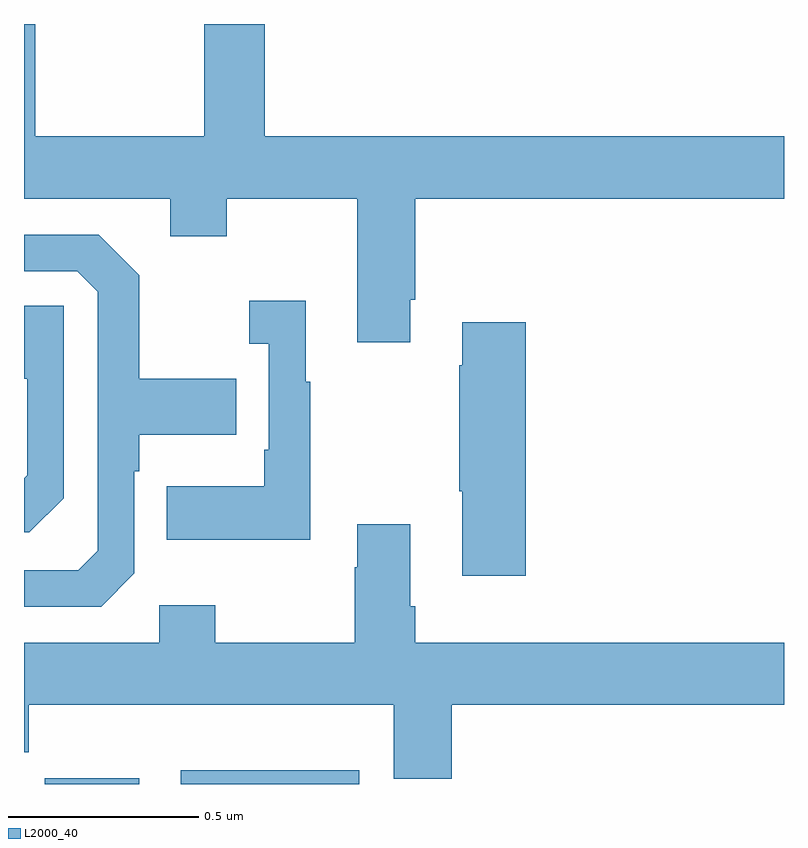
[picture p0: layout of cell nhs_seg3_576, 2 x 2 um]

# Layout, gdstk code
import gdstk
lib = gdstk.Library(unit=1e-6, precision=1e-09)
def R(c, l, rs):  # rectangles x0, y0, x1, y1
    for r in rs: c.add(gdstk.rectangle(r[:2], r[2:], *l))
def P(c, l, *ps):  # polygons
    for p in ps: c.add(gdstk.Polygon(p, *l))
L2000_40 = (2000, 40)

nhs_seg3_576 = lib.new_cell('nhs_seg3_576')
R(nhs_seg3_576, L2000_40, [(118.054,675.4,118.303,675.415), (118.413,675.4,118.882,675.436)])
P(nhs_seg3_576, L2000_40, [(119.017,676.675),(119.03,676.675),(119.03,676.94),(120,676.94),(120,677.104),(118.634,677.104),(118.634,677.4),(118.474,677.4),(118.474,677.104),(118.029,677.104),(118.029,677.4),(118,677.4),(118,676.94),(118.385,676.94),(118.385,676.841),(118.533,676.841),(118.533,676.94),(118.877,676.94),(118.877,676.563),(119.017,676.563)],
  [(118.29,675.954),(118.29,676.223),(118.303,676.223),(118.303,676.319),(118.559,676.319),(118.559,676.467),(118.303,676.467),(118.303,676.739),(118.197,676.845),(118,676.845),(118,676.749),(118.14,676.749),(118.194,676.695),(118.194,676.014),(118.143,675.963),(118,675.963),(118,675.867),(118.203,675.867)],
  [(118.753,676.459),(118.741,676.459),(118.741,676.672),(118.593,676.672),(118.593,676.559),(118.644,676.559),(118.644,676.279),(118.632,676.279),(118.632,676.183),(118.375,676.183),(118.375,676.043),(118.753,676.043)],
  [(118.104,676.152),(118.104,676.659),(118,676.659),(118,676.466),(118.008,676.466),(118.008,676.212),(118,676.204),(118,676.062),(118.014,676.062)],
  [(119.321,676.615),(119.153,676.615),(119.153,676.502),(119.146,676.502),(119.146,676.171),(119.153,676.171),(119.153,675.948),(119.321,675.948)],
  [(119.126,675.608),(120,675.608),(120,675.772),(119.03,675.772),(119.03,675.868),(119.017,675.868),(119.017,676.084),(118.877,676.084),(118.877,675.971),(118.87,675.971),(118.87,675.772),(118.503,675.772),(118.503,675.871),(118.356,675.871),(118.356,675.772),(118,675.772),(118,675.484),(118.013,675.484),(118.013,675.608),(118.973,675.608),(118.973,675.414),(119.126,675.414)])

lib.write_gds('nhs_seg3_576.gds')
